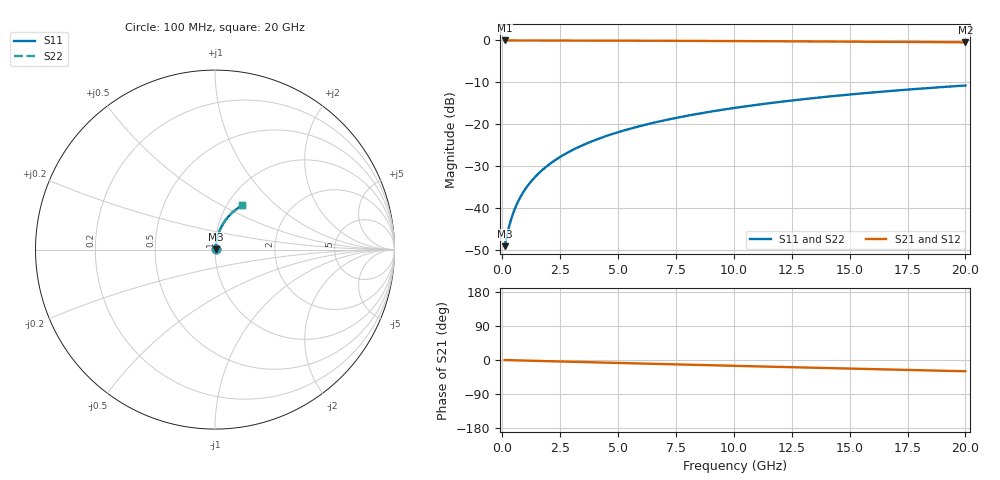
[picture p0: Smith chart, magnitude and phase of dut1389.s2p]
! Touchstone file exported from HFSS 2026.1.0
!  File:  C:/ffzhzh/LocalFiles/Ansys_Project_Files/temp_train_BSMRDL_1389_1783179707_51560.aedt
!  Generated:  11:43:03 PM Jul  4, 2026
!  Design:  BSMRDL
!  Project:  temp_train_BSMRDL_1389_1783179707_51560
! Variables:
!  h_bsmrdl = 3.05um
!  h_ox = 20um
!  h_rdl = 5um
!  h_sub = 80um
!  h_tmrdl = 5um
!  h_tsv = 80um
!  h_via = 3um
!  l_bsmrdl = 415.14um
!  l_sub = 815.14um
!  l_tmrdl = 200um
!  m_sub = 200um
!  pitch = 38.34um
!  r_tsv = 6um
!  s_tmrdl = 10um
!  w_bsmrdl = 16.99um
!  w_sub = 500um
!  w_tmrdl = 12um
!  x_tsv_center1 = 206um
!  x_tsv_center2 = 638.13um
!  x_tsv_center3 = 850.13um
!  x_tsv_center4 = 1282.26um
!  x_tsv_center5 = 1494.26um
!  x_tsv_center6 = 1926.39um
# GHz S MA R 50.000000
! Terminal data exported
! Port[1] = BSM_RDL1_1_T1
! Port[2] = BSM_RDL1_1_T2
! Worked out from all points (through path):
!   200 points, 100 MHz to 20 GHz, reference 50 ohm
!   highest |S21| = -0.03 dB at 100 MHz (marker M1); lowest = -0.5 dB at 20 GHz (marker M2)
!   group delay of S21, straight-line fit = 4.13 ps
!   lowest |S11| = -49.1 dB at 100 MHz (marker M3), VSWR 1.01, Z = 50.3 + j0.177 ohm
!   |S11| at or under -10 dB: start of sweep to end of sweep
!   |S22| runs from -49.1 to -10.8 dB; largest |S21 - S12| = 5.3e-15
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0.1  0.003507 30.1  0.997 -0.2  0.997 -0.2  0.003507 30.1
! Gamma 0 0 0 0
! Port Impedance 50 0 50 0
0.2  0.004686 48.2  0.9969 -0.3  0.9969 -0.3  0.004686 48.2
0.3  0.006115 57.9  0.9968 -0.5  0.9968 -0.5  0.006115 57.9
0.4  0.007622 63.6  0.9967 -0.6  0.9967 -0.6  0.007622 63.6
0.5  0.009153 67.4  0.9966 -0.8  0.9966 -0.8  0.009153 67.4
0.6  0.01069 70.1  0.9965 -1.0  0.9965 -1.0  0.01069 70.1
0.8  0.01379 73.6  0.9963 -1.3  0.9963 -1.3  0.01379 73.6
1.1  0.01848 76.7  0.9961 -1.7  0.9961 -1.7  0.01848 76.6
1.3  0.02163 77.9  0.996 -2.0  0.996 -2.0  0.02163 77.9
1.6  0.02638 79.1  0.9958 -2.5  0.9958 -2.5  0.02638 79.1
2.1  0.03433 80.1  0.9955 -3.3  0.9955 -3.3  0.03433 80.1
2.7  0.04388 80.4  0.9949 -4.2  0.9949 -4.2  0.04388 80.4
3.5  0.05659 80.1  0.9941 -5.5  0.9941 -5.5  0.05659 80.1
4.2  0.06765 79.6  0.9931 -6.6  0.9931 -6.6  0.06765 79.6
5  0.08021 78.7  0.9919 -7.8  0.9919 -7.8  0.08022 78.7
5.9  0.09422 77.7  0.9903 -9.2  0.9903 -9.2  0.09422 77.6
6.8  0.1081 76.5  0.9886 -10.5  0.9886 -10.5  0.1081 76.5
8.3  0.1308 74.5  0.9852 -12.8  0.9852 -12.8  0.1308 74.4
10.1  0.1574 72.0  0.9806 -15.5  0.9806 -15.5  0.1574 71.9
13.4  0.2041 67.4  0.9708 -20.4  0.9708 -20.4  0.2041 67.3
16.7  0.2482 62.8  0.9596 -25.1  0.9596 -25.1  0.2482 62.8
20  0.2894 58.3  0.9473 -29.7  0.9473 -29.7  0.2894 58.3
